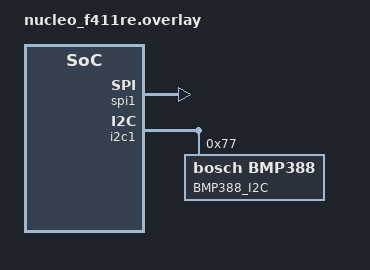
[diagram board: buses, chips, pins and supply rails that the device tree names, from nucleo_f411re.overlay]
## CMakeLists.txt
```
cmake_minimum_required(VERSION 3.20.5)

#set(BOARD nucleo_f411re)
set(BOARD nrf52840dk_nrf52840)
list(APPEND SHIELD "dfrobot_can_bus_v2_0")
list(APPEND SHIELD "adafruit_2_8_tft_touch_v2")

find_package(Zephyr)
project(haldisplaynode)

FILE(GLOB app_sources
            src/main.c 
            #src/sensor.c 
            src/lcd.c)
        #)#src/canbus.c)
target_sources(app PRIVATE ${app_sources})
```

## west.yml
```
manifest:
  self:
    path: .

  remotes:
    - name: zephyrproject-rtos
      url-base: https://github.com/zephyrproject-rtos

  projects:
    - name: application
    - name: zephyr
      remote: zephyrproject-rtos
      revision: v2.6.0
      import: true
```

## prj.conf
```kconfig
CONFIG_HEAP_MEM_POOL_SIZE=16384

# CONFIG_SENSOR=y
# CONFIG_BMP388=y
# CONFIG_BMP388_TRIGGER_NONE=y
# CONFIG_BMP388_TRIGGER_GLOBAL_THREAD is not set
# CONFIG_BMP388_TRIGGER_OWN_THREAD is not set
# CONFIG_BMP388_TRIGGER_DIRECT=y
# CONFIG_BMP388_ODR_RUNTIME=y
# CONFIG_BMP388_OSR_RUNTIME=y

# CONFIG_SPI=y
# CONFIG_I2C=y
CONFIG_LOG=y
CONFIG_LVGL=y
CONFIG_LVGL_USE_LABEL=y
#CONFIG_DISPLAY=y
```

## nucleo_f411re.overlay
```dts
&spi1 {

	status = "okay";
	/* sck-pin =  <&gpioa 7 0>; */

};

&i2c1 {
    label = "i2c";

    bmp388: bmp388@77 {
        compatible = "bosch,bmp388";
        label = "BMP388_I2C";
        status = "okay";
        reg = <0x77>;
    };
};

/ {
aliases {
    bmp388sensor = &bmp388;
};

};
```

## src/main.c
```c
/*
 * Copyright (c) 2019 Jan Van Winkel <jan.van_winkel@dxplore.eu>
 *
 * Based on ST7789V sample:
 * Copyright (c) 2019 Marc Reilly
 *
 * SPDX-License-Identifier: Apache-2.0
 */
#include <stdio.h>
#include <string.h>

#include <logging/log.h>
LOG_MODULE_REGISTER(node, LOG_LEVEL_INF);
#include <zephyr.h>
#include <device.h>

#include "common.h"
#include "lcd.h"
#include "sensor.h"


void main(void)
{
	LOG_INF("FIRMWARE SETUP");
    //sensors_init();
    display_render();

    while (1) {
	    LOG_INF("FIRMWARE LOOP ITERATON");
        //sensors_read();
        //display_update();

		k_msleep(1000);
	}
    

	RETURN_FROM_MAIN(0);
}
```

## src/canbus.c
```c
#include <logging/log.h>
LOG_MODULE_REGISTER(canbus, LOG_LEVEL_INF);
#include <zephyr.h>
#include <kernel.h>
#include <device.h>
#include <drivers/can.h>
#include <drivers/gpio.h>
#include <sys/byteorder.h>

#define RX_THREAD_STACK_SIZE 512
#define RX_THREAD_PRIORITY 2
#define STATE_POLL_THREAD_STACK_SIZE 512
#define STATE_POLL_THREAD_PRIORITY 2
#define LED_MSG_ID 0x10
#define COUNTER_MSG_ID 0x12345
#define SET_LED 1
#define RESET_LED 0
#define SLEEP_TIME K_MSEC(250)

K_THREAD_STACK_DEFINE(rx_thread_stack, RX_THREAD_STACK_SIZE);
K_THREAD_STACK_DEFINE(poll_state_stack, STATE_POLL_THREAD_STACK_SIZE);

const struct device *can_dev = DEVICE_DT_GET(DT_CHOSEN(zephyr_can_primary));
struct gpio_dt_spec led = GPIO_DT_SPEC_GET_OR(DT_ALIAS(led0), gpios, {0});

struct k_thread rx_thread_data;
struct k_thread poll_state_thread_data;
struct zcan_work rx_work;
struct k_work state_change_work;
enum can_state current_state;
struct can_bus_err_cnt current_err_cnt;

CAN_DEFINE_MSGQ(counter_msgq, 2);


void tx_irq_callback(uint32_t error_flags, void *arg)
{
	char *sender = (char *)arg;

	if (error_flags) {
		LOG_ERR("Callback! error-code: %d\nSender: %s\n",
		       error_flags, sender);
	}
    LOG_INF("tx callback");
}


void rx_thread(void *arg1, void *arg2, void *arg3)
{
	ARG_UNUSED(arg1);
	ARG_UNUSED(arg2);
	ARG_UNUSED(arg3);
	const struct zcan_filter filter = {
		.id_type = CAN_EXTENDED_IDENTIFIER,
		.rtr = CAN_DATAFRAME,
		.id = COUNTER_MSG_ID,
		.rtr_mask = 1,
		.id_mask = CAN_EXT_ID_MASK
	};
	struct zcan_frame msg;
	int filter_id;

	filter_id = can_attach_msgq(can_dev, &counter_msgq, &filter);
	printk("Counter filter id: %d\n", filter_id);

	while (1) {
		k_msgq_get(&counter_msgq, &msg, K_FOREVER);

		if (msg.dlc != 2U) {
			printk("Wrong data length: %u\n", msg.dlc);
			continue;
		}

		printk("Counter received: %u\n",
		       sys_be16_to_cpu(UNALIGNED_GET((uint16_t *)&msg.data)));
	}
}

char *state_to_str(enum can_state state)
{
	switch (state) {
	case CAN_ERROR_ACTIVE:
		return "error-active";
	case CAN_ERROR_PASSIVE:
		return "error-passive";
	case CAN_BUS_OFF:
		return "bus-off";
	default:
		return "unknown";
	}
}

void poll_state_thread(void *unused1, void *unused2, void *unused3)
{
	struct can_bus_err_cnt err_cnt = {0, 0};
	struct can_bus_err_cnt err_cnt_prev = {0, 0};
	enum can_state state_prev = CAN_ERROR_ACTIVE;
	enum can_state state;

	while (1) {
		state = can_get_state(can_dev, &err_cnt);
		if (err_cnt.tx_err_cnt != err_cnt_prev.tx_err_cnt ||
		    err_cnt.rx_err_cnt != err_cnt_prev.rx_err_cnt ||
		    state_prev != state) {

			err_cnt_prev.tx_err_cnt = err_cnt.tx_err_cnt;
			err_cnt_prev.rx_err_cnt = err_cnt.rx_err_cnt;
			state_prev = state;
			printk("state: %s\n"
			       "rx error count: %d\n"
			       "tx error count: %d\n",
			       state_to_str(state),
			       err_cnt.rx_err_cnt, err_cnt.tx_err_cnt);
		} else {
			k_sleep(K_MSEC(100));
		}
	}
}

void state_change_work_handler(struct k_work *work)
{
	printk("State Change ISR\nstate: %s\n"
	       "rx error count: %d\n"
	       "tx error count: %d\n",
		state_to_str(current_state),
		current_err_cnt.rx_err_cnt, current_err_cnt.tx_err_cnt);

#ifndef CONFIG_CAN_AUTO_BUS_OFF_RECOVERY
	if (current_state == CAN_BUS_OFF) {
		printk("Recover from bus-off\n");

		if (can_recover(can_dev, K_MSEC(100)) != 0) {
			printk("Recovery timed out\n");
		}
	}
#endif /* CONFIG_CAN_AUTO_BUS_OFF_RECOVERY */
}

void state_change_isr(enum can_state state, struct can_bus_err_cnt err_cnt)
{
	current_state = state;
	current_err_cnt = err_cnt;
	k_work_submit(&state_change_work);
}


void canbus_init(void)
{
	const struct zcan_filter change_led_filter = {
		.id_type = CAN_STANDARD_IDENTIFIER,
		.rtr = CAN_DATAFRAME,
		.id = LED_MSG_ID,
		.rtr_mask = 1,
		.id_mask = CAN_STD_ID_MASK
	};
	struct zcan_frame change_led_frame = {
		.id_type = CAN_STANDARD_IDENTIFIER,
		.rtr = CAN_DATAFRAME,
		.id = LED_MSG_ID,
		.dlc = 1
	};
	struct zcan_frame counter_frame = {
		.id_type = CAN_EXTENDED_IDENTIFIER,
		.rtr = CAN_DATAFRAME,
		.id = COUNTER_MSG_ID,
		.dlc = 2
	};
	uint8_t toggle = 1;
	uint16_t counter = 0;
	k_tid_t rx_tid, get_state_tid;
	int ret;

	if (!device_is_ready(can_dev)) {
		printk("CAN: Device %s not ready.\n", can_dev->name);
		return;
	}

#ifdef CONFIG_LOOPBACK_MODE
	can_set_mode(can_dev, CAN_LOOPBACK_MODE);
#endif

	if (led.port != NULL) {
		if (!device_is_ready(led.port)) {
			printk("LED: Device %s not ready.\n",
			       led.port->name);
			return;
		}
		ret = gpio_pin_configure_dt(&led, GPIO_OUTPUT_HIGH);
		if (ret < 0) {
			printk("Error setting LED pin to output mode [%d]",
			       ret);
			led.port = NULL;
		}
	}


	k_work_init(&state_change_work, state_change_work_handler);

	ret = can_attach_workq(can_dev, &k_sys_work_q, &rx_work, change_led,
			       NULL, &change_led_filter);
	if (ret == CAN_NO_FREE_FILTER) {
		printk("Error, no filter available!\n");
		return;
	}

	printk("Change LED filter ID: %d\n", ret);

	rx_tid = k_thread_create(&rx_thread_data, rx_thread_stack,
				 K_THREAD_STACK_SIZEOF(rx_thread_stack),
				 rx_thread, NULL, NULL, NULL,
				 RX_THREAD_PRIORITY, 0, K_NO_WAIT);
	if (!rx_tid) {
		printk("ERROR spawning rx thread\n");
	}


	get_state_tid = k_thread_create(&poll_state_thread_data,
					poll_state_stack,
					K_THREAD_STACK_SIZEOF(poll_state_stack),
					poll_state_thread, NULL, NULL, NULL,
					STATE_POLL_THREAD_PRIORITY, 0,
					K_NO_WAIT);
	if (!get_state_tid) {
		printk("ERROR spawning poll_state_thread\n");
	}

	can_register_state_change_isr(can_dev, state_change_isr);

	printk("Finished init.\n");

	while (1) {
		change_led_frame.data[0] = toggle++ & 0x01 ? SET_LED : RESET_LED;
		/* This sending call is none blocking. */
		can_send(can_dev, &change_led_frame, K_FOREVER,
			 tx_irq_callback,
			 "LED change");
		k_sleep(SLEEP_TIME);

		UNALIGNED_PUT(sys_cpu_to_be16(counter),
			      (uint16_t *)&counter_frame.data[0]);
		counter++;
		/* This sending call is blocking until the message is sent. */
		can_send(can_dev, &counter_frame, K_MSEC(100), NULL, NULL);
		k_sleep(SLEEP_TIME);
	}
}
```

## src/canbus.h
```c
#ifndef CANBUS_H
#define CANBUS_H

void canbus_init(void);

#endif
```

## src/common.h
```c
#ifndef COMMON_H
#define COMMON_H


#define DISPLAY_DEV_NAME DT_LABEL(DT_INST(0, ilitek_ili9340))

#ifdef CONFIG_ARCH_POSIX
#include "posix_board_if.h"
#endif

#ifdef CONFIG_ARCH_POSIX
#define RETURN_FROM_MAIN(exit_code) posix_exit_main(exit_code)
#else
#define RETURN_FROM_MAIN(exit_code) return
#endif


#endif
```

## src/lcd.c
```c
#include <stdio.h>
#include <string.h>

#include <logging/log.h>
LOG_MODULE_REGISTER(lcd, LOG_LEVEL_INF);
#include <zephyr.h>
#include <device.h>
#include <drivers/display.h>
#include <lvgl.h>

#include "common.h"

enum corner {
	TOP_LEFT,
	TOP_RIGHT,
	BOTTOM_RIGHT,
	BOTTOM_LEFT
};

typedef void (*fill_buffer)(enum corner corner, uint8_t grey, uint8_t *buf,
			    size_t buf_size);


#ifdef CONFIG_ARCH_POSIX
static void posix_exit_main(int exit_code)
{
#if CONFIG_TEST
	if (exit_code == 0) {
		LOG_INF("PROJECT EXECUTION SUCCESSFUL");
	} else {
		LOG_INF("PROJECT EXECUTION FAILED");
	}
#endif
	posix_exit(exit_code);
}
#endif

static void fill_buffer_argb8888(enum corner corner, uint8_t grey, uint8_t *buf,
				 size_t buf_size)
{
	uint32_t color = 0;

	switch (corner) {
	case TOP_LEFT:
		color = 0x00FF0000u;
		break;
	case TOP_RIGHT:
		color = 0x0000FF00u;
		break;
	case BOTTOM_RIGHT:
		color = 0x000000FFu;
		break;
	case BOTTOM_LEFT:
		color = grey << 16 | grey << 8 | grey;
		break;
	}

	for (size_t idx = 0; idx < buf_size; idx += 4) {
		*((uint32_t *)(buf + idx)) = color;
	}
}

static void fill_buffer_rgb888(enum corner corner, uint8_t grey, uint8_t *buf,
			       size_t buf_size)
{
	uint32_t color = 0;

	switch (corner) {
	case TOP_LEFT:
		color = 0x00FF0000u;
		break;
	case TOP_RIGHT:
		color = 0x0000FF00u;
		break;
	case BOTTOM_RIGHT:
		color = 0x000000FFu;
		break;
	case BOTTOM_LEFT:
		color = grey << 16 | grey << 8 | grey;
		break;
	}

	for (size_t idx = 0; idx < buf_size; idx += 3) {
		*(buf + idx + 0) = color >> 16;
		*(buf + idx + 1) = color >> 8;
		*(buf + idx + 2) = color >> 0;
	}
}

static uint16_t get_rgb565_color(enum corner corner, uint8_t grey)
{
	uint16_t color = 0;
	uint16_t grey_5bit;

	switch (corner) {
	case TOP_LEFT:
		color = 0xF800u;
		break;
	case TOP_RIGHT:
		color = 0x07E0u;
		break;
	case BOTTOM_RIGHT:
		color = 0x001Fu;
		break;
	case BOTTOM_LEFT:
		grey_5bit = grey & 0x1Fu;
		/* shift the green an extra bit, it has 6 bits */
		color = grey_5bit << 11 | grey_5bit << (5 + 1) | grey_5bit;
		break;
	}
	return color;
}

static void fill_buffer_rgb565(enum corner corner, uint8_t grey, uint8_t *buf,
			       size_t buf_size)
{
	uint16_t color = get_rgb565_color(corner, grey);

	for (size_t idx = 0; idx < buf_size; idx += 2) {
		*(buf + idx + 0) = (color >> 8) & 0xFFu;
		*(buf + idx + 1) = (color >> 0) & 0xFFu;
	}
}

static void fill_buffer_bgr565(enum corner corner, uint8_t grey, uint8_t *buf,
			       size_t buf_size)
{
	uint16_t color = get_rgb565_color(corner, grey);

	for (size_t idx = 0; idx < buf_size; idx += 2) {
		*(uint16_t *)(buf + idx) = color;
	}
}

static void fill_buffer_mono(enum corner corner, uint8_t grey, uint8_t *buf,
			     size_t buf_size)
{
	uint16_t color;

	switch (corner) {
	case BOTTOM_LEFT:
		color = (grey & 0x01u) ? 0xFFu : 0x00u;
		break;
	default:
		color = 0;
		break;
	}

	memset(buf, color, buf_size);
}

void display_render() {

    size_t x;
	size_t y;
	size_t rect_w;
	size_t rect_h;
	size_t h_step;
	size_t scale;

	uint8_t *buf;
	int32_t grey_scale_sleep;
	const struct device *display_dev;
	struct display_capabilities capabilities;
	struct display_buffer_descriptor buf_desc;
	size_t buf_size = 0;
	fill_buffer fill_buffer_fnc = NULL;

	LOG_INF("Display in use %s", DISPLAY_DEV_NAME);
	display_dev = device_get_binding(DISPLAY_DEV_NAME);

	if (display_dev == NULL) {
		LOG_ERR("Device %s not found. Aborting sample.",
			DISPLAY_DEV_NAME);
		RETURN_FROM_MAIN(1);
	}

	display_get_capabilities(display_dev, &capabilities);

	if (capabilities.screen_info & SCREEN_INFO_MONO_VTILED) {
		rect_w = 16;
		rect_h = 8;
	} else {
		rect_w = 2;
		rect_h = 1;
	}

	h_step = rect_h;
	scale = (capabilities.x_resolution / 8) / rect_h;

	rect_w *= scale;
	rect_h *= scale;

	if (capabilities.screen_info & SCREEN_INFO_EPD) {
		grey_scale_sleep = 10000;
	} else {
		grey_scale_sleep = 100;
	}

	buf_size = rect_w * rect_h;

	if (buf_size < (capabilities.x_resolution * h_step)) {
		buf_size = capabilities.x_resolution * h_step;
	}

	switch (capabilities.current_pixel_format) {
	case PIXEL_FORMAT_ARGB_8888:
		fill_buffer_fnc = fill_buffer_argb8888;
		buf_size *= 4;
		break;
	case PIXEL_FORMAT_RGB_888:
		fill_buffer_fnc = fill_buffer_rgb888;
		buf_size *= 3;
		break;
	case PIXEL_FORMAT_RGB_565:
		fill_buffer_fnc = fill_buffer_rgb565;
		buf_size *= 2;
		break;
	case PIXEL_FORMAT_BGR_565:
		fill_buffer_fnc = fill_buffer_bgr565;
		buf_size *= 2;
		break;
	case PIXEL_FORMAT_MONO01:
	case PIXEL_FORMAT_MONO10:
		fill_buffer_fnc = fill_buffer_mono;
		buf_size /= 8;
		break;
	default:
		LOG_ERR("Unsupported pixel format. Aborting sample.");
		RETURN_FROM_MAIN(1);
	}

	buf = k_malloc(buf_size);

	if (buf == NULL) {
		LOG_ERR("Could not allocate memory. Aborting sample.");
		RETURN_FROM_MAIN(1);
	}

	(void)memset(buf, 0xFFu, buf_size);

	buf_desc.buf_size = buf_size;
	buf_desc.pitch = capabilities.x_resolution;
	buf_desc.width = capabilities.x_resolution;
	buf_desc.height = h_step;

	for (int idx = 0; idx < capabilities.y_resolution; idx += h_step) {
		display_write(display_dev, 0, idx, &buf_desc, buf);
	}

	buf_desc.pitch = rect_w;
	buf_desc.width = rect_w;
	buf_desc.height = rect_h;

	fill_buffer_fnc(TOP_LEFT, 0, buf, buf_size);
	x = 0;
	y = 0;
	display_write(display_dev, x, y, &buf_desc, buf);

	fill_buffer_fnc(TOP_RIGHT, 0, buf, buf_size);
	x = capabilities.x_resolution - rect_w;
	y = 0;
	display_write(display_dev, x, y, &buf_desc, buf);

	fill_buffer_fnc(BOTTOM_RIGHT, 0, buf, buf_size);
	x = capabilities.x_resolution - rect_w;
	y = capabilities.y_resolution - rect_h;
	display_write(display_dev, x, y, &buf_desc, buf);


    //lv_obj_t *hexhive_label;
    //hexhive_label = (lv_obj_t*) lv_label_create(lv_scr_act(), NULL);
    
	//lv_label_set_text(hexhive_label, "HEXHIVE");
	//lv_obj_align(hexhive_label, NULL, LV_ALIGN_CENTER, 0, 0);

    display_blanking_off(display_dev);


	x = 0;
	y = capabilities.y_resolution - rect_h;

    LOG_INF("End of Render");

}

void display_update() {
    /*static size_t grey_count = 0;
    fill_buffer_fnc(BOTTOM_LEFT, grey_count, buf, buf_size);
	display_write(display_dev, x, y, &buf_desc, buf);
	++grey_count;*/
}
```

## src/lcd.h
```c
#ifndef LCD_H
#define LCD_H


void display_render(void);
void display_update(void);

#endif
```

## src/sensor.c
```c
#include <stdio.h>
#include <string.h>

#include <logging/log.h>
LOG_MODULE_REGISTER(sensors, LOG_LEVEL_INF);
#include <zephyr.h>
#include <device.h>
#include <drivers/i2c.h>
#include <drivers/sensor.h>

#include "common.h"
#include "lcd.h"
#include "sensor.h"


const struct device *sensor_dev = NULL;
#define BMP388_DEV_NAME DT_LABEL(DT_NODELABEL(bmp388))

void sensors_init()
{
    sensor_dev = device_get_binding(BMP388_DEV_NAME);

    if ( sensor_dev == NULL ) {
        LOG_ERR("Device BMP388 not found.");
        return;
    }
    LOG_INF("Device BMP388 found.");
}

void sensors_read()
{
    struct sensor_value temp, press;

    if ( sensor_dev == NULL ) return;

	sensor_sample_fetch(sensor_dev);
	sensor_channel_get(sensor_dev, SENSOR_CHAN_AMBIENT_TEMP, &temp);
	sensor_channel_get(sensor_dev, SENSOR_CHAN_PRESS, &press);

	printk("temp: %d.%06d; press: %d.%06d;\n",
		      temp.val1, temp.val2, press.val1, press.val2);
}
```

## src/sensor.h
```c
#ifndef SENSOR_H
#define SENSOR_H

void sensors_init();
void sensors_read();

#endif
```
